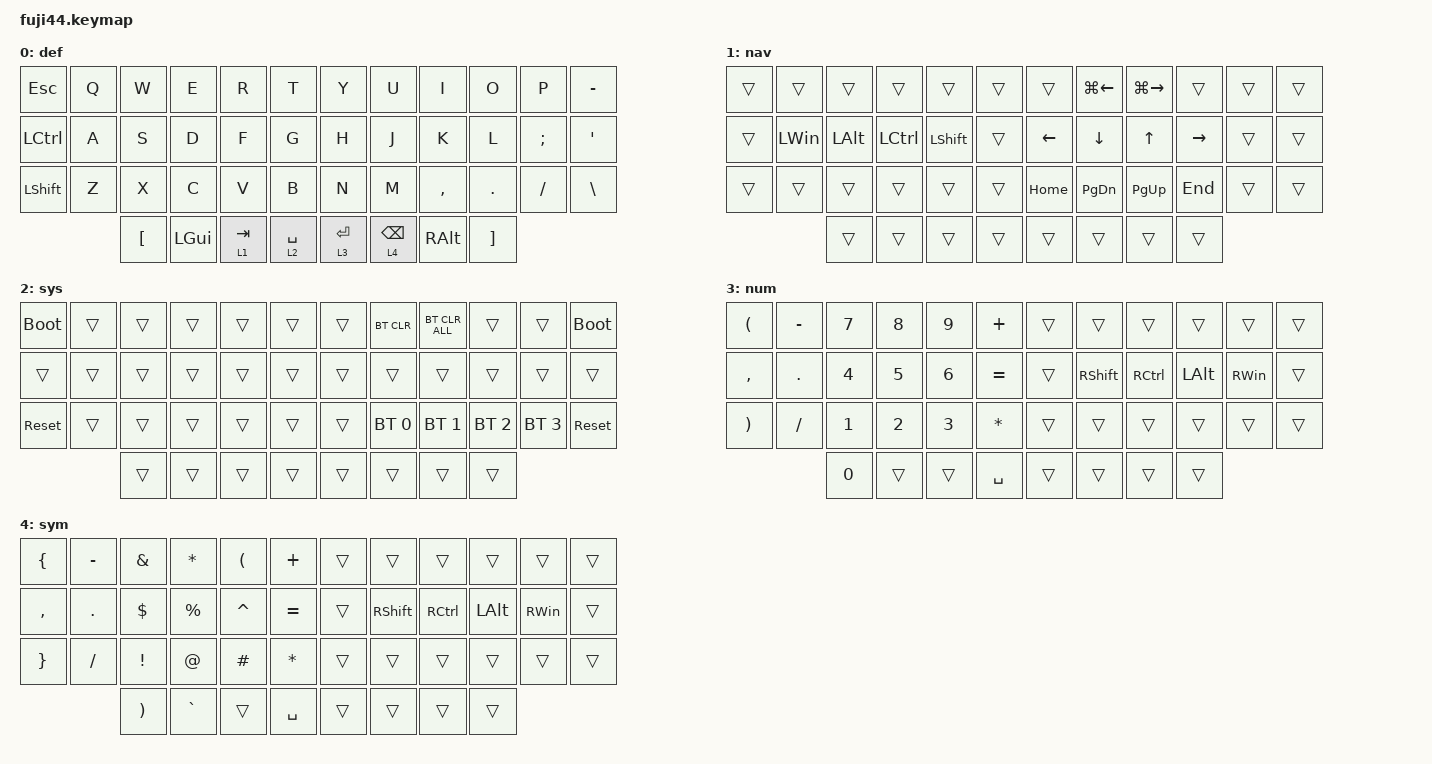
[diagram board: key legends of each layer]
/*
 * Copyright (c) 2020 The ZMK Contributors
 *
 * SPDX-License-Identifier: MIT
 */

#include <behaviors.dtsi>
#include <dt-bindings/zmk/bt.h>
#include <dt-bindings/zmk/keys.h>

/ {
    combos {
        compatible = "zmk,combos";

        combo_esc {
            timeout-ms = <50>;
            key-positions = <0 1>;
            bindings = <&kp ESC>;
        };
    };

    behaviors {
        ss_hs_modmorph: ss_hs_modmorph {
            compatible = "zmk,behavior-mod-morph";
            label = "SS_HS_MODMORPH";
            bindings = <&kp M>, <&kp RIGHT_BRACKET>;

            #binding-cells = <0>;
            mods = <(MOD_LSFT|MOD_RSFT)>;
        };

        kh_hs_tapdance: kh_hs_tapdance {
            compatible = "zmk,behavior-tap-dance";
            label = "KH_HS_TAPDANCE";
            #binding-cells = <0>;
            tapping-term-ms = <200>;
            bindings = <&kp LEFT_BRACKET>, <&kp RIGHT_BRACKET>;
        };

        hrm: hrm {
            compatible = "zmk,behavior-hold-tap";
            #binding-cells = <2>;
            flavor = "tap-preferred";
            tapping-term-ms = <200>;
            quick-tap-ms = <200>;
            require-prior-idle-ms = <125>;
            bindings = <&kp>, <&kp>;
        };
    };

    keymap {
        compatible = "zmk,keymap";

        def {
            bindings = <
&kp ESC    &kp Q  &kp W             &kp E     &kp R      &kp T          &kp Y        &kp U            &kp I      &kp O              &kp P     &kp MINUS
&kp LCTRL  &kp A  &kp S             &kp D     &kp F      &kp G          &kp H        &kp J            &kp K      &kp L              &kp SEMI  &kp SQT
&kp LSHFT  &kp Z  &kp X             &kp C     &kp V      &kp B          &kp N        &kp M            &kp COMMA  &kp DOT            &kp FSLH  &kp BACKSLASH
                  &kp LEFT_BRACKET  &kp LGUI  &lt 1 TAB  &lt 2 SPACE    &lt 3 ENTER  &lt 4 BACKSPACE  &kp RALT   &kp RIGHT_BRACKET
            >;
        };

        nav {
            bindings = <
&trans  &trans        &trans        &trans     &trans          &trans    &trans    &kp LG(LEFT)   &kp LG(RIGHT)  &trans     &trans  &trans
&trans  &kp LEFT_WIN  &kp LEFT_ALT  &kp LCTRL  &kp LEFT_SHIFT  &trans    &kp LEFT  &kp DOWN       &kp UP         &kp RIGHT  &trans  &trans
&trans  &trans        &trans        &trans     &trans          &trans    &kp HOME  &kp PAGE_DOWN  &kp PG_UP      &kp END    &trans  &trans
                      &trans        &trans     &trans          &trans    &trans    &trans         &trans         &trans
            >;
        };

        sys {
            bindings = <
&bootloader  &trans  &trans  &trans  &trans  &trans    &trans  &bt BT_CLR    &bt BT_CLR_ALL  &trans        &trans        &bootloader
&trans       &trans  &trans  &trans  &trans  &trans    &trans  &trans        &trans          &trans        &trans        &trans
&sys_reset   &trans  &trans  &trans  &trans  &trans    &trans  &bt BT_SEL 0  &bt BT_SEL 1    &bt BT_SEL 2  &bt BT_SEL 3  &sys_reset
                     &trans  &trans  &trans  &trans    &trans  &trans        &trans          &trans
            >;
        };

        num {
            bindings = <
&kp LEFT_PARENTHESIS   &kp MINUS   &kp N7        &kp N8        &kp N9        &kp PLUS        &trans  &trans           &trans     &trans    &trans         &trans
&kp COMMA              &kp PERIOD  &kp NUMBER_4  &kp N5        &kp NUMBER_6  &kp EQUAL       &trans  &kp RIGHT_SHIFT  &kp RCTRL  &kp LALT  &kp RIGHT_WIN  &trans
&kp RIGHT_PARENTHESIS  &kp SLASH   &kp NUMBER_1  &kp NUMBER_2  &kp NUMBER_3  &kp ASTERISK    &trans  &trans           &trans     &trans    &trans         &trans
                                   &kp N0        &trans        &trans        &kp SPACE       &trans  &trans           &trans     &trans
            >;
        };

        sym {
            bindings = <
&kp LEFT_BRACE   &kp MINUS  &kp AMPERSAND          &kp ASTERISK  &kp LEFT_PARENTHESIS  &kp PLUS        &trans  &trans      &trans     &trans        &trans         &trans
&kp COMMA        &kp DOT    &kp DOLLAR             &kp PERCENT   &kp CARET             &kp EQUAL       &trans  &kp RSHIFT  &kp RCTRL  &kp LEFT_ALT  &kp RIGHT_WIN  &trans
&kp RIGHT_BRACE  &kp SLASH  &kp EXCL               &kp AT_SIGN   &kp HASH              &kp ASTERISK    &trans  &trans      &trans     &trans        &trans         &trans
                            &kp RIGHT_PARENTHESIS  &kp GRAVE     &trans                &kp SPACE       &trans  &trans      &trans     &trans
            >;
        };
    };
};
